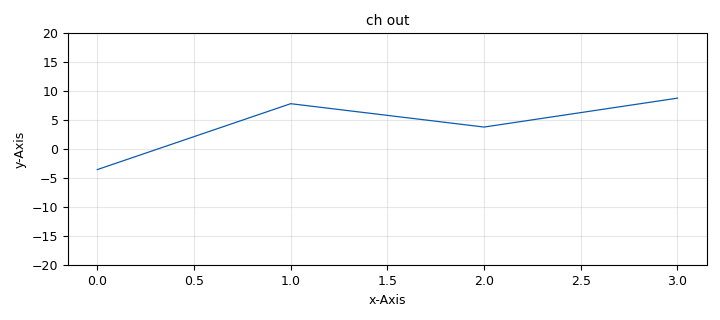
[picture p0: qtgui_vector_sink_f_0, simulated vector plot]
<?xml version='1.0' encoding='utf-8'?>
<?grc format='1' created='3.7.9'?>
<flow_graph>
<block>
<key>options</key>
<param><key>id</key><value>top_block</value></param>
<param><key>category</key><value>Custom</value></param>
<param><key>generate_options</key><value>qt_gui</value></param>
</block>
<block>
<key>variable</key>
<param><key>id</key><value>samp_rate</value></param>
<param><key>value</key><value>32000</value></param>
</block>
<block>
<key>analog_const_source_x</key>
<param><key>id</key><value>analog_const_source_x_0</value></param>
<param><key>const</key><value>2</value></param>
<param><key>type</key><value>float</value></param>
</block>
<block>
<key>analog_const_source_x</key>
<param><key>id</key><value>analog_const_source_x_0_0</value></param>
<param><key>const</key><value>6</value></param>
<param><key>type</key><value>float</value></param>
</block>
<block>
<key>analog_noise_source_x</key>
<param><key>id</key><value>analog_noise_source_x_0</value></param>
<param><key>amp</key><value>1</value></param>
<param><key>noise_type</key><value>analog.GR_GAUSSIAN</value></param>
<param><key>type</key><value>float</value></param>
<param><key>seed</key><value>0</value></param>
</block>
<block>
<key>blocks_add_xx</key>
<param><key>id</key><value>blocks_add_xx_0</value></param>
<param><key>type</key><value>float</value></param>
<param><key>vlen</key><value>4</value></param>
</block>
<block>
<key>blocks_add_xx</key>
<param><key>id</key><value>blocks_add_xx_2</value></param>
<param><key>type</key><value>float</value></param>
<param><key>num_inputs</key><value>4</value></param>
</block>
<block>
<key>blocks_add_xx</key>
<param><key>id</key><value>blocks_add_xx_2_0</value></param>
<param><key>type</key><value>float</value></param>
<param><key>num_inputs</key><value>4</value></param>
</block>
<block>
<key>blocks_add_xx</key>
<param><key>id</key><value>blocks_add_xx_3</value></param>
<param><key>type</key><value>float</value></param>
</block>
<block>
<key>blocks_multiply_const_vxx</key>
<param><key>id</key><value>blocks_multiply_const_vxx_1</value></param>
<param><key>const</key><value>(1,1,-1,1)</value></param>
<param><key>type</key><value>float</value></param>
<param><key>vlen</key><value>4</value></param>
</block>
<block>
<key>blocks_multiply_const_vxx</key>
<param><key>id</key><value>blocks_multiply_const_vxx_1_0</value></param>
<param><key>const</key><value>(-1,1,1,1)</value></param>
<param><key>type</key><value>float</value></param>
<param><key>vlen</key><value>4</value></param>
</block>
<block>
<key>blocks_multiply_const_vxx</key>
<param><key>id</key><value>blocks_multiply_const_vxx_1_0_0</value></param>
<param><key>const</key><value>(-1,1,1,1)</value></param>
<param><key>type</key><value>float</value></param>
<param><key>vlen</key><value>4</value></param>
</block>
<block>
<key>blocks_multiply_const_vxx</key>
<param><key>id</key><value>blocks_multiply_const_vxx_1_1</value></param>
<param><key>const</key><value>(1,1,-1,1)</value></param>
<param><key>type</key><value>float</value></param>
<param><key>vlen</key><value>4</value></param>
</block>
<block>
<key>blocks_multiply_const_vxx</key>
<param><key>id</key><value>blocks_multiply_const_vxx_1_2</value></param>
<param><key>const</key><value>0.25</value></param>
<param><key>type</key><value>float</value></param>
</block>
<block>
<key>blocks_multiply_const_vxx</key>
<param><key>id</key><value>blocks_multiply_const_vxx_1_2_0</value></param>
<param><key>const</key><value>0.25</value></param>
<param><key>type</key><value>float</value></param>
</block>
<block>
<key>blocks_stream_to_vector</key>
<param><key>id</key><value>blocks_stream_to_vector_0</value></param>
<param><key>type</key><value>float</value></param>
<param><key>num_items</key><value>4</value></param>
</block>
<block>
<key>blocks_stream_to_vector</key>
<param><key>id</key><value>blocks_stream_to_vector_0_0</value></param>
<param><key>type</key><value>float</value></param>
<param><key>num_items</key><value>4</value></param>
</block>
<block>
<key>blocks_stream_to_vector</key>
<param><key>id</key><value>blocks_stream_to_vector_0_0_0</value></param>
<param><key>type</key><value>float</value></param>
<param><key>num_items</key><value>4</value></param>
</block>
<block>
<key>blocks_vector_to_stream</key>
<param><key>id</key><value>blocks_vector_to_stream_0</value></param>
<param><key>type</key><value>float</value></param>
<param><key>num_items</key><value>4</value></param>
</block>
<block>
<key>blocks_vector_to_streams</key>
<param><key>id</key><value>blocks_vector_to_streams_0</value></param>
<param><key>type</key><value>float</value></param>
<param><key>num_streams</key><value>4</value></param>
</block>
<block>
<key>blocks_vector_to_streams</key>
<param><key>id</key><value>blocks_vector_to_streams_0_0</value></param>
<param><key>type</key><value>float</value></param>
<param><key>num_streams</key><value>4</value></param>
</block>
<block>
<key>qtgui_number_sink</key>
<param><key>id</key><value>qtgui_number_sink_0</value></param>
<param><key>graph_type</key><value>qtgui.NUM_GRAPH_HORIZ</value></param>
<param><key>type</key><value>float</value></param>
<param><key>max</key><value>4</value></param>
<param><key>min</key><value>-4</value></param>
<param><key>name</key><value>"user 0"</value></param>
<param><key>update_time</key><value>1</value></param>
</block>
<block>
<key>qtgui_number_sink</key>
<param><key>id</key><value>qtgui_number_sink_1</value></param>
<param><key>graph_type</key><value>qtgui.NUM_GRAPH_HORIZ</value></param>
<param><key>type</key><value>float</value></param>
<param><key>max</key><value>4</value></param>
<param><key>min</key><value>-4</value></param>
<param><key>name</key><value>"user-1"</value></param>
<param><key>update_time</key><value>1</value></param>
</block>
<block>
<key>qtgui_vector_sink_f</key>
<param><key>id</key><value>qtgui_vector_sink_f_0</value></param>
<param><key>name</key><value>"ch out"</value></param>
<param><key>showports</key><value>True</value></param>
<param><key>update_time</key><value>1</value></param>
<param><key>vlen</key><value>4</value></param>
<param><key>x_start</key><value>0</value></param>
<param><key>x_step</key><value>1</value></param>
<param><key>ymax</key><value>20</value></param>
<param><key>ymin</key><value>-20</value></param>
</block>
<block>
<key>qtgui_vector_sink_f</key>
<param><key>id</key><value>qtgui_vector_sink_f_0_2</value></param>
<param><key>name</key><value>"ch in"</value></param>
<param><key>showports</key><value>True</value></param>
<param><key>vlen</key><value>4</value></param>
<param><key>x_start</key><value>0</value></param>
<param><key>x_step</key><value>1</value></param>
<param><key>ymax</key><value>20</value></param>
<param><key>ymin</key><value>-20</value></param>
</block>
<block>
<key>virtual_sink</key>
<param><key>id</key><value>virtual_sink_1</value></param>
</block>
<block>
<key>virtual_source</key>
<param><key>id</key><value>virtual_source_0</value></param>
</block>
<connection><source_block_id>analog_const_source_x_0</source_block_id><sink_block_id>blocks_stream_to_vector_0_0</sink_block_id><source_key>0</source_key><sink_key>0</sink_key></connection>
<connection><source_block_id>analog_const_source_x_0_0</source_block_id><sink_block_id>blocks_stream_to_vector_0_0_0</sink_block_id><source_key>0</source_key><sink_key>0</sink_key></connection>
<connection><source_block_id>analog_noise_source_x_0</source_block_id><sink_block_id>blocks_add_xx_3</sink_block_id><source_key>0</source_key><sink_key>1</sink_key></connection>
<connection><source_block_id>blocks_add_xx_0</source_block_id><sink_block_id>blocks_vector_to_stream_0</sink_block_id><source_key>0</source_key><sink_key>0</sink_key></connection>
<connection><source_block_id>blocks_add_xx_0</source_block_id><sink_block_id>qtgui_vector_sink_f_0_2</sink_block_id><source_key>0</source_key><sink_key>0</sink_key></connection>
<connection><source_block_id>blocks_add_xx_2</source_block_id><sink_block_id>blocks_multiply_const_vxx_1_2</sink_block_id><source_key>0</source_key><sink_key>0</sink_key></connection>
<connection><source_block_id>blocks_add_xx_2_0</source_block_id><sink_block_id>blocks_multiply_const_vxx_1_2_0</sink_block_id><source_key>0</source_key><sink_key>0</sink_key></connection>
<connection><source_block_id>blocks_add_xx_3</source_block_id><sink_block_id>virtual_sink_1</sink_block_id><source_key>0</source_key><sink_key>0</sink_key></connection>
<connection><source_block_id>blocks_multiply_const_vxx_1</source_block_id><sink_block_id>blocks_add_xx_0</sink_block_id><source_key>0</source_key><sink_key>0</sink_key></connection>
<connection><source_block_id>blocks_multiply_const_vxx_1_0</source_block_id><sink_block_id>blocks_add_xx_0</sink_block_id><source_key>0</source_key><sink_key>1</sink_key></connection>
<connection><source_block_id>blocks_multiply_const_vxx_1_0_0</source_block_id><sink_block_id>blocks_vector_to_streams_0_0</sink_block_id><source_key>0</source_key><sink_key>0</sink_key></connection>
<connection><source_block_id>blocks_multiply_const_vxx_1_1</source_block_id><sink_block_id>blocks_vector_to_streams_0</sink_block_id><source_key>0</source_key><sink_key>0</sink_key></connection>
<connection><source_block_id>blocks_multiply_const_vxx_1_2</source_block_id><sink_block_id>qtgui_number_sink_0</sink_block_id><source_key>0</source_key><sink_key>0</sink_key></connection>
<connection><source_block_id>blocks_multiply_const_vxx_1_2_0</source_block_id><sink_block_id>qtgui_number_sink_1</sink_block_id><source_key>0</source_key><sink_key>0</sink_key></connection>
<connection><source_block_id>blocks_stream_to_vector_0</source_block_id><sink_block_id>blocks_multiply_const_vxx_1_0_0</sink_block_id><source_key>0</source_key><sink_key>0</sink_key></connection>
<connection><source_block_id>blocks_stream_to_vector_0</source_block_id><sink_block_id>blocks_multiply_const_vxx_1_1</sink_block_id><source_key>0</source_key><sink_key>0</sink_key></connection>
<connection><source_block_id>blocks_stream_to_vector_0</source_block_id><sink_block_id>qtgui_vector_sink_f_0</sink_block_id><source_key>0</source_key><sink_key>0</sink_key></connection>
<connection><source_block_id>blocks_stream_to_vector_0_0</source_block_id><sink_block_id>blocks_multiply_const_vxx_1</sink_block_id><source_key>0</source_key><sink_key>0</sink_key></connection>
<connection><source_block_id>blocks_stream_to_vector_0_0_0</source_block_id><sink_block_id>blocks_multiply_const_vxx_1_0</sink_block_id><source_key>0</source_key><sink_key>0</sink_key></connection>
<connection><source_block_id>blocks_vector_to_stream_0</source_block_id><sink_block_id>blocks_add_xx_3</sink_block_id><source_key>0</source_key><sink_key>0</sink_key></connection>
<connection><source_block_id>blocks_vector_to_streams_0</source_block_id><sink_block_id>blocks_add_xx_2</sink_block_id><source_key>0</source_key><sink_key>0</sink_key></connection>
<connection><source_block_id>blocks_vector_to_streams_0</source_block_id><sink_block_id>blocks_add_xx_2</sink_block_id><source_key>1</source_key><sink_key>1</sink_key></connection>
<connection><source_block_id>blocks_vector_to_streams_0</source_block_id><sink_block_id>blocks_add_xx_2</sink_block_id><source_key>2</source_key><sink_key>2</sink_key></connection>
<connection><source_block_id>blocks_vector_to_streams_0</source_block_id><sink_block_id>blocks_add_xx_2</sink_block_id><source_key>3</source_key><sink_key>3</sink_key></connection>
<connection><source_block_id>blocks_vector_to_streams_0_0</source_block_id><sink_block_id>blocks_add_xx_2_0</sink_block_id><source_key>0</source_key><sink_key>0</sink_key></connection>
<connection><source_block_id>blocks_vector_to_streams_0_0</source_block_id><sink_block_id>blocks_add_xx_2_0</sink_block_id><source_key>1</source_key><sink_key>1</sink_key></connection>
<connection><source_block_id>blocks_vector_to_streams_0_0</source_block_id><sink_block_id>blocks_add_xx_2_0</sink_block_id><source_key>2</source_key><sink_key>2</sink_key></connection>
<connection><source_block_id>blocks_vector_to_streams_0_0</source_block_id><sink_block_id>blocks_add_xx_2_0</sink_block_id><source_key>3</source_key><sink_key>3</sink_key></connection>
<connection><source_block_id>virtual_source_0</source_block_id><sink_block_id>blocks_stream_to_vector_0</sink_block_id><source_key>0</source_key><sink_key>0</sink_key></connection>
</flow_graph>
